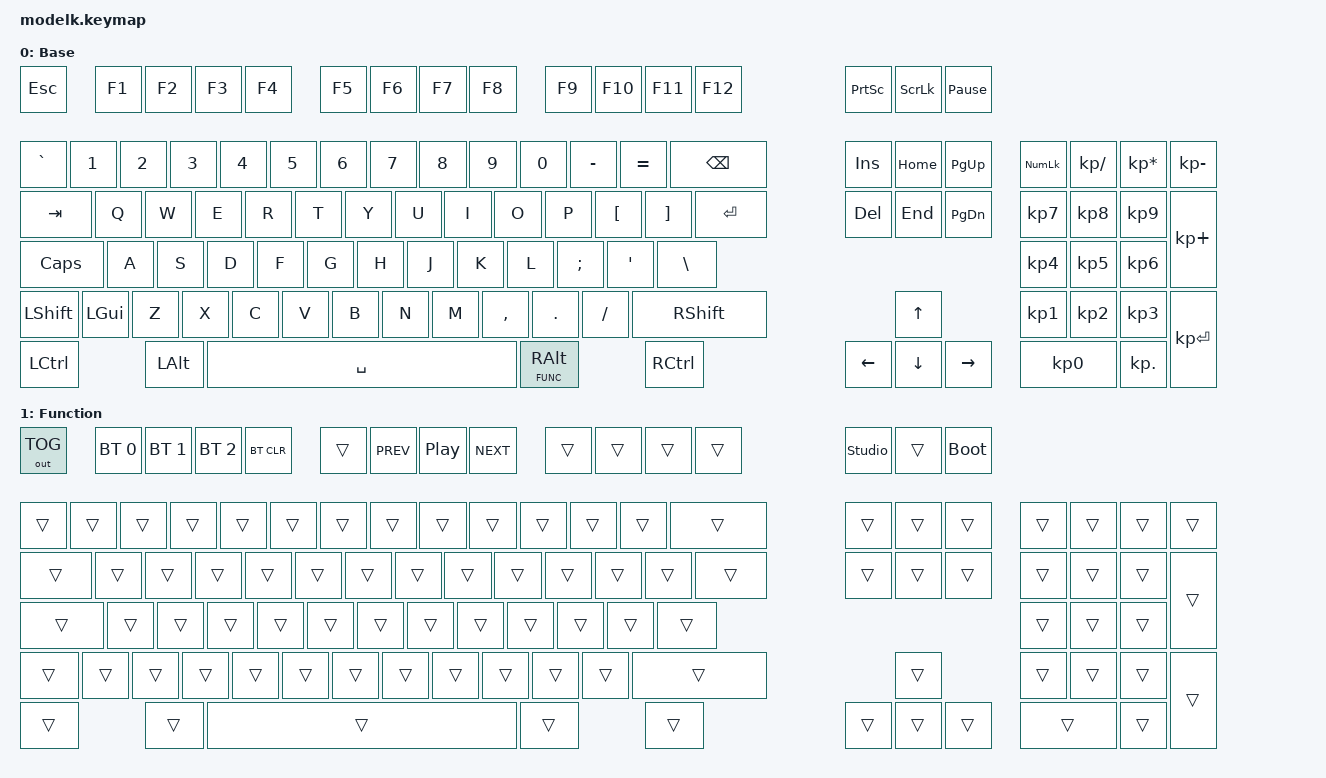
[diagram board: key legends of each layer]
#include <behaviors.dtsi>
#include <dt-bindings/zmk/keys.h>
#include <dt-bindings/zmk/bt.h>
#include <dt-bindings/zmk/outputs.h>

#define ____ &trans
#define DEFAULT 0
#define FUNC   1

/ {
    behaviors {
        studio_unlock: studio_unlock {
            compatible = "zmk,behavior-studio-unlock";
            #binding-cells = <0>;
        };
    };

    keymap {
        compatible = "zmk,keymap";

        default_layer {
            display-name = "Base";
            bindings = <
                // **See modelh.overlay**

                &kp ESC     &kp F1     &kp F2     &kp F3     &kp F4     &kp F5     &kp F6     &kp F7     &kp F8     &kp F9     &kp F10    &kp F11    &kp F12
                &kp GRAVE   &kp N1     &kp N2     &kp N3     &kp N4     &kp N5     &kp N6     &kp N7     &kp N8     &kp N9     &kp N0     &kp MINUS  &kp EQUAL  &kp BSPC
                &kp TAB     &kp Q      &kp W      &kp E      &kp R      &kp T      &kp Y      &kp U      &kp I      &kp O      &kp P      &kp LBKT   &kp RBKT   &kp ENTER
                &kp CAPS    &kp A      &kp S      &kp D      &kp F      &kp G      &kp H      &kp J      &kp K      &kp L      &kp SEMI   &kp SQT    &kp BSLH
                &kp LSHIFT  &kp LGUI   &kp Z      &kp X      &kp C      &kp V      &kp B      &kp N      &kp M      &kp COMMA  &kp DOT    &kp FSLH   &kp RSHIFT
                &kp LCTRL              &kp LALT              &kp SPACE             &lt FUNC RALT         &kp RCTRL


                &kp PSCRN &kp SLCK &kp PAUSE_BREAK

                &kp INS &kp HOME &kp PG_UP
                &kp DEL &kp END &kp PG_DN

                         &kp UP
                &kp LEFT &kp DOWN &kp RIGHT

                &kp KP_NUM &kp KP_DIVIDE &kp KP_MULTIPLY &kp KP_MINUS
                &kp KP_N7 &kp KP_N8 &kp KP_N9 &kp KP_PLUS
                &kp KP_N4 &kp KP_N5 &kp KP_N6
                &kp KP_N1 &kp KP_N2 &kp KP_N3 &kp KP_ENTER
                &kp KP_N0 &kp KP_DOT
            >;
        };

        function {
            display-name = "Function";
            bindings = <
                &out OUT_TOG &bt BT_SEL 0 &bt BT_SEL 1 &bt BT_SEL 2 &bt BT_CLR ____     &kp C_PREV     &kp C_PP     &kp C_NEXT    ____    ____    ____    ____
                ____     ____     ____     ____     ____     ____     ____     ____     ____     ____     ____    ____    ____    ____
                ____     ____     ____     ____     ____     ____     ____     ____     ____     ____     ____    ____    ____    ____
                ____     ____     ____     ____     ____     ____     ____     ____     ____     ____     ____    ____    ____
                ____     ____     ____     ____     ____     ____     ____     ____     ____     ____     ____    ____    ____
                ____              ____              ____              ____              ____

                &studio_unlock ____ &bootloader

                ____ ____ ____
                ____ ____ ____

                     ____
                ____ ____ ____

                ____ ____ ____ ____
                ____ ____ ____ ____
                ____ ____ ____
                ____ ____ ____ ____
                ____ ____
            >;
        };

	    // Reserved for ZMK Studio
        extra1 {
            status = "reserved";
        };

        extra2 {
            status = "reserved";
        };

	    // Here as a template
        empty {
            status = "reserved";
            bindings = <
                ____     ____     ____     ____     ____     ____     ____     ____     ____     ____     ____    ____    ____
                ____     ____     ____     ____     ____     ____     ____     ____     ____     ____     ____    ____    ____    ____
                ____     ____     ____     ____     ____     ____     ____     ____     ____     ____     ____    ____    ____    ____
                ____     ____     ____     ____     ____     ____     ____     ____     ____     ____     ____    ____    ____
                ____     ____     ____     ____     ____     ____     ____     ____     ____     ____     ____    ____    ____
                ____              ____              ____              ____              ____


                ____ ____ ____

                ____ ____ ____
                ____ ____ ____

                     ____
                ____ ____ ____

                ____ ____ ____ ____
                ____ ____ ____ ____
                ____ ____ ____
                ____ ____ ____ ____
                ____ ____
            >;
        };
    };
};
